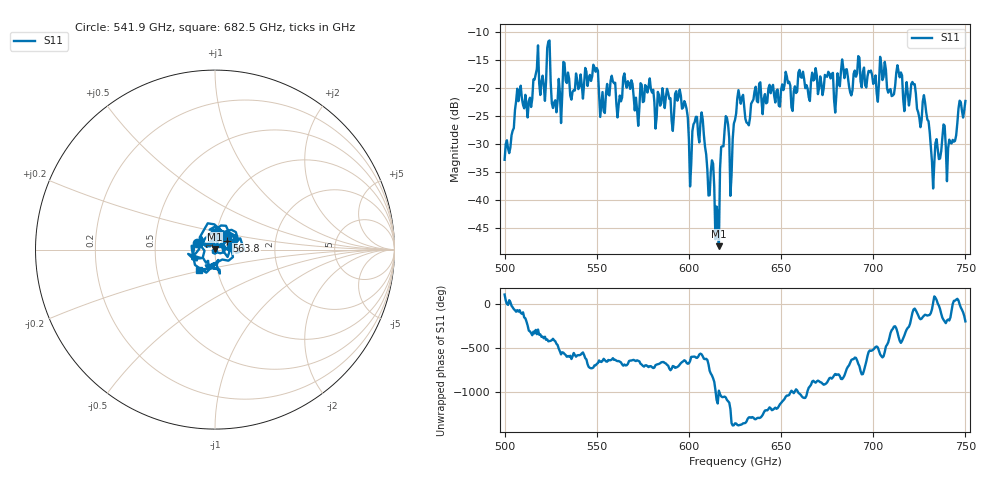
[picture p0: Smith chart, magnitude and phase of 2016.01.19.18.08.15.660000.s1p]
!Created with skrf (http://scikit-rf.org).
# GHz S RI R 50.0
!freq ReS11 ImS11
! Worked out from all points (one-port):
!   401 points, 500 GHz to 750 GHz, reference 50 ohm
!   lowest |S11| = -48.2 dB at 616.2 GHz (marker M1), VSWR 1.01, Z = 49.9 + j0.383 ohm
!   |S11| at or under -10 dB: start of sweep to end of sweep
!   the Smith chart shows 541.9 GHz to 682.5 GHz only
!   S11 on the Smith chart (normalised r, x): 541.9 GHz: 0.82, +0.06; 563.8 GHz: 1.14, +0.11; 682.5 GHz: 0.82, -0.19
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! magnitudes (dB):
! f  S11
! 500 GHz  -32.8
! 516.9 GHz  -17.5
! 520.6 GHz  -17.7
! 523.8 GHz  -11.6
! 526.9 GHz  -22.5
! 531.2 GHz  -21.4
! 541.9 GHz  -19.4
! 549.4 GHz  -17.0
! 553.1 GHz  -20.7
! 558.8 GHz  -18.8
! 562.5 GHz  -21.3
! 563.8 GHz  -21.6
! 593.8 GHz  -22.2
! 600.6 GHz  -37.5
! 607.5 GHz  -25.6
! 615 GHz  -41.1
! 616.2 GHz  -48.2
! 619.4 GHz  -27.4
! 623.1 GHz  -35.5
! 625 GHz  -25.7
! 656.2 GHz  -24.0
! 682.5 GHz  -16.9
! 687.5 GHz  -20.7
! 705 GHz  -18.5
! 718.8 GHz  -21.0
! 728.1 GHz  -22.5
! 732.5 GHz  -37.9
! 750 GHz  -22.3
